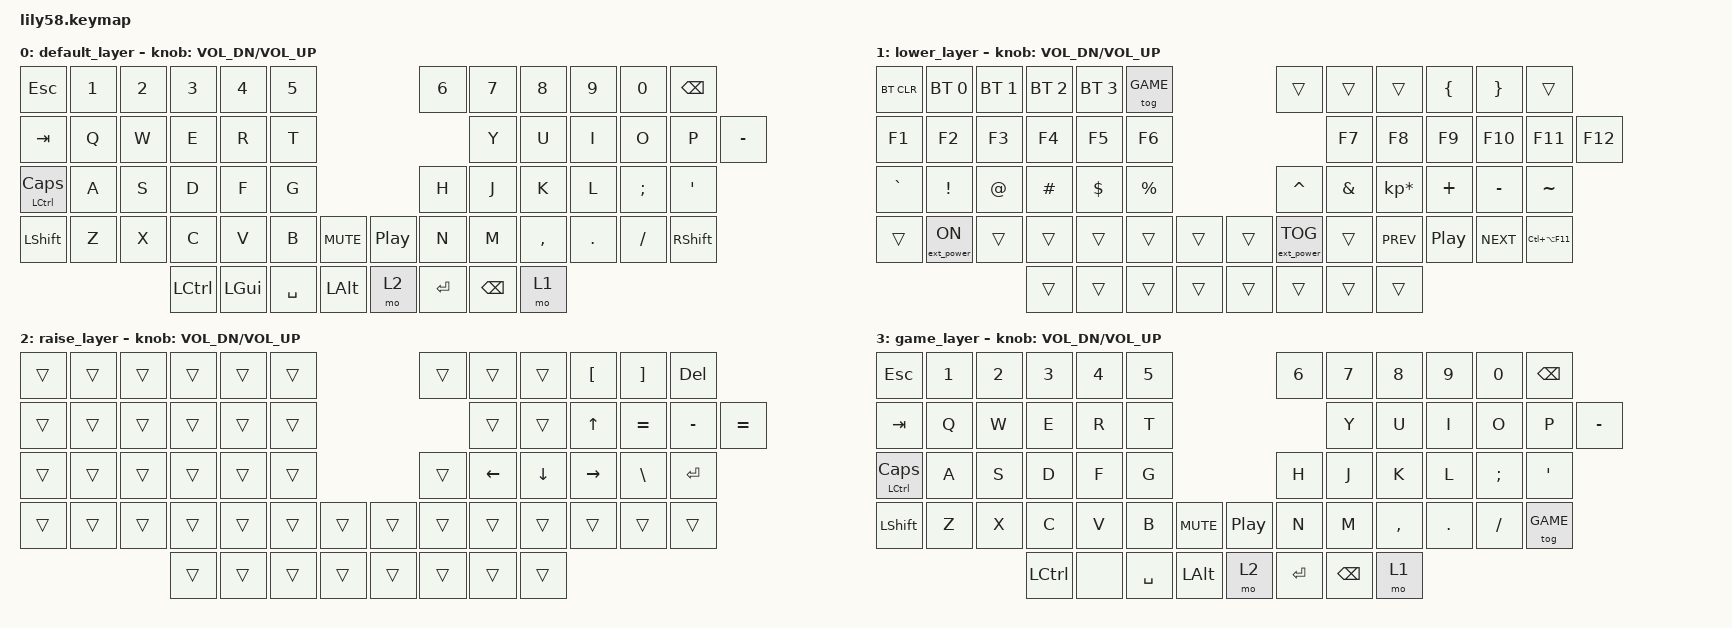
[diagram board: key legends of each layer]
/*
 * Copyright (c) 2020 The ZMK Contributors
 *
 * SPDX-License-Identifier: MIT
 */

#include <behaviors.dtsi>
#include <dt-bindings/zmk/keys.h>
#include <dt-bindings/zmk/bt.h>
#include <dt-bindings/zmk/ext_power.h>

#define DEFAULT 0
#define LOWER    1
#define RAISE    2
#define GAME 3

/ {
	keymap {
		compatible = "zmk,keymap";

		default_layer {
// ------------------------------------------------------------------------------------------------------------
// |  ESC  |  1  |  2  |  3   |  4   |  5   |                   |  6   |  7    |  8    |  9   |   0   |  BSPC |
// |  TAB  |  Q  |  W  |  E   |  R   |  T   |                   |  Y   |  U    |  I    |  O   |   P   |   -   |
// |  CAPS |  A  |  S  |  D   |  F   |  G   |                   |  H   |  J    |  K    |  L   |   ;   |   '   |
// | SHFT |  Z  |  X  |  C   |  V   |  B   |   MUTE |  |  PLAYPAUSE  |  N   |  M    |  ,    |  .   |   /   | SHIFT |
//                     | CTRL | GUI  | SPACE|  ALT |  | RAISE | ENTER| BSPC   | LOWER   |
			bindings = <
&kp ESC   &kp N1 &kp N2 &kp N3   &kp N4   &kp N5                     &kp N6 &kp N7   &kp N8    &kp N9  &kp N0   &kp BSPC
&kp TAB   &kp Q  &kp W  &kp E    &kp R    &kp T                      &kp Y  &kp U    &kp I     &kp O   &kp P    &kp MINUS
&mt LCTRL CAPS  &kp A  &kp S  &kp D    &kp F    &kp G                      &kp H  &kp J    &kp K     &kp L   &kp SEMI &kp SQT
&kp LSHFT &kp Z  &kp X  &kp C    &kp V    &kp B  &kp C_MUTE  &kp C_PLAY_PAUSE &kp N  &kp M    &kp COMMA &kp DOT &kp FSLH &kp RSHFT
                        &kp LCTRL &kp LGUI &kp SPACE  &kp LALT  &mo 2  &kp RET  &kp BSPC &mo 1
			>;

			sensor-bindings = <&inc_dec_kp C_VOL_DN C_VOL_UP>;
		};

		lower_layer {
// ------------------------------------------------------------------------------------------------------------
// | BTCLR | BT1 | BT2 |  BT3 |  BT4 |  BT5 |                   |      |       |       |  {   |   }   |       |
// |  F1   |  F2 |  F3 |  F4  |  F5  |  F6  |                   |  F7  |  F8   |  F9   |  F10 |  F11  |  F12  |
// |   `   |  !  |  @  |  #   |  $   |  %   |                   |  ^   |  &    |  *    |  +   |   -   |   ~   |
// |       |     |     |      |      |      |        |  |       |      |       |   prev   |  pp  | next  |       |
//                     |      |      |      |        |  |       |      |       |       |
			bindings = <
&bt BT_CLR &bt BT_SEL 0     &bt BT_SEL 1      &bt BT_SEL 2      &bt BT_SEL 3 &tog GAME                 &trans    &trans    &trans          &kp LBRC    &kp RBRC    &trans
&kp F1     &kp F2           &kp F3            &kp F4            &kp F5       &kp F6                       &kp F7    &kp F8    &kp F9          &kp F10   &kp F11   &kp F12
&kp GRAVE  &kp EXCL         &kp AT            &kp HASH          &kp DOLLAR   &kp PRCNT                    &kp CARET &kp AMPS  &kp KP_MULTIPLY &kp PLUS  &kp MINUS  &kp TILDE
&trans     &ext_power EP_ON &trans &trans &trans       &trans    &trans   &trans    &ext_power EP_TOG      &trans    &kp C_PREV    &kp C_PLAY_PAUSE    &kp C_NEXT    &kp LC(LA(F11))
                                              &trans            &trans       &trans    &trans   &trans    &trans    &trans    &trans
			>;

			sensor-bindings = <&inc_dec_kp C_VOL_DN C_VOL_UP>;
		};

		raise_layer {
// ------------------------------------------------------------------------------------------------------------
// |       |     |     |      |      |      |                   |      |       |       |   [  |   ]   |  DEL  |
// |       |     |     |      |      |      |                   |      |       |   ^   |   +  |   -   |   +   |
// |       |     |     |      |      |      |                   |      |   <-  |   v   |  ->  |   \   |  RET  |
// |       |     |     |      |      |      |                   |      |       |       |      |       |       |
//                     |      |      |      |        |  |       |      |       |       |
			bindings = <
&trans    &trans &trans &trans  &trans  &trans                       &trans      &trans    &trans    &kp LBKT    &kp RBKT    &kp DEL
&trans    &trans &trans &trans  &trans  &trans                       &trans      &trans    &kp UP    &kp EQUAL    &kp MINUS    &kp EQUAL
&trans    &trans &trans &trans  &trans  &trans                       &trans      &kp LEFT  &kp DOWN  &kp RIGHT &kp BSLH    &kp RET
&trans    &trans &trans &trans  &trans  &trans    &trans   &trans    &trans      &trans    &trans    &trans    &trans    &trans
                        &trans  &trans  &trans    &trans   &trans    &trans      &trans    &trans
			>;

			sensor-bindings = <&inc_dec_kp C_VOL_DN C_VOL_UP>;
			
		};
			
		game_layer {
// ------------------------------------------------------------------------------------------------------------
// |  ESC  |  1  |  2  |  3   |  4   |  5   |                   |  6   |  7    |  8    |  9   |   0   |  BSPC |
// |  TAB  |  Q  |  W  |  E   |  R   |  T   |                   |  Y   |  U    |  I    |  O   |   P   |   -   |
// |  CAPS |  A  |  S  |  D   |  F   |  G   |                   |  H   |  J    |  K    |  L   |   ;   |   '   |
// | SHFT |  Z  |  X  |  C   |  V   |  B   |   MUTE |  |  PLAYPAUSE  |  N   |  M    |  ,    |  .   |   /   | SHIFT |
//                     | CTRL |      | SPACE|  ALT |  | RAISE | ENTER| BSPC   | LOWER   |
			bindings = <
&kp ESC   &kp N1 &kp N2 &kp N3   &kp N4   &kp N5                     &kp N6 &kp N7   &kp N8    &kp N9  &kp N0   &kp BSPC
&kp TAB   &kp Q  &kp W  &kp E    &kp R    &kp T                      &kp Y  &kp U    &kp I     &kp O   &kp P    &kp MINUS
&mt LCTRL CAPS  &kp A  &kp S  &kp D    &kp F    &kp G                      &kp H  &kp J    &kp K     &kp L   &kp SEMI &kp SQT
&kp LSHFT &kp Z  &kp X  &kp C    &kp V    &kp B  &kp C_MUTE  &kp C_PLAY_PAUSE &kp N  &kp M    &kp COMMA &kp DOT &kp FSLH &tog GAME
                        &kp LCTRL &none &kp SPACE  &kp LALT  &mo 2  &kp RET  &kp BSPC &mo 1
			>;

			sensor-bindings = <&inc_dec_kp C_VOL_DN C_VOL_UP>;
		};
	};
};
